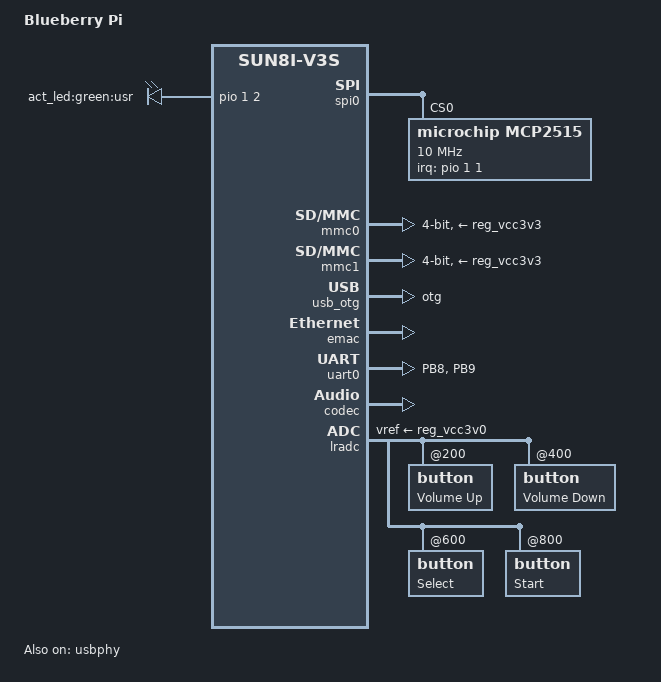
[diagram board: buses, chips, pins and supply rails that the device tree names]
/dts-v1/;
#include "sun8i-v3s.dtsi"
#include "sunxi-common-regulators.dtsi"
#include <dt-bindings/input/input.h>
/ {
	model = "Blueberry Pi";
	compatible = "blueberrypi", "allwinner,sun8i-v3s";

	aliases {
		serial0 = &uart0;
		ethernet0 = &emac;
		
	};

	chosen {
		stdout-path = "serial0:115200n8";
	};
leds {
	compatible = "gpio-leds";

	act_led {
		label = "act_led:green:usr";
		gpios = <&pio 1 2 GPIO_ACTIVE_HIGH>; /* PB2 */
		linux,default-trigger = "mmc0";
		default-state = "off";
	};
	};
	

};

&spi0 {
	
	pinctrl-0 = <&spi0_pins>;
	pinctrl-names = "default";
	status = "okay";
	#address-cells = <1>;
	#size-cells = <0>;
			
		mcp2515 {
				reg = <0>;
				compatible = "microchip,mcp2515";
				pinctrl-names = "default";
				pinctrl-0 = <&can0_pin_irq>;
				spi-max-frequency = <10000000>;
				interrupt-parent = <&pio>;
				interrupts = <1 1 2>; /* PB1 IRQ_TYPE_EDGE_FALLING */
				clocks = <&can0_osc>;
				status = "okay";
};
};

&mmc0 {
	pinctrl-0 = <&mmc0_pins>;
	pinctrl-names = "default";
	broken-cd;
	bus-width = <4>;
	vmmc-supply = <&reg_vcc3v3>;
	status = "okay";
};

&mmc1 {
	pinctrl-0 = <&mmc1_pins>;
	pinctrl-names = "default";
	broken-cd;
	bus-width = <4>;
	vmmc-supply = <&reg_vcc3v3>;
	status = "okay";
};


&usb_otg {
	dr_mode = "otg";
	status = "okay";
};

&usbphy {
	usb0_id_det-gpio = <&pio 5 6 GPIO_ACTIVE_HIGH>;
	status = "okay";
};

&emac {
	allwinner,leds-active-high;
	status = "okay";
};

&uart0 {
	pinctrl-0 = <&uart0_pins>;
	pinctrl-names = "default";
	status = "okay";
};

&codec {
	allwinner,audio-routing = "Headphone", "HP", "Headphone", "HPCOM", "Mic", "MIC1";
	status = "okay";
};

&lradc {
	vref-supply = <&reg_vcc3v0>;
	status = "okay";

	button@200 {
		label = "Volume Up";
		linux,code = <KEY_VOLUMEUP>;
		channel = <0>;
		voltage = <200000>;
	};

	button@400 {
		label = "Volume Down";
		linux,code = <KEY_VOLUMEDOWN>;
		channel = <0>;
		voltage = <400000>;
	};

	button@600 {
		label = "Select";
		linux,code = <KEY_SELECT>;
		channel = <0>;
		voltage = <600000>;
	};

	button@800 {
		label = "Start";
		linux,code = <KEY_OK>;
		channel = <0>;
		voltage = <800000>;
	};
};

&pio {
	
	uart0_pins: uart0@0 {
	 	pins = "PB8", "PB9";
		function = "uart0";
	};
	
	can0_pin_irq: can0_pin_irq {
				pins = "PB1";
				function = "irq";
				bias-pull-up;

};

};

